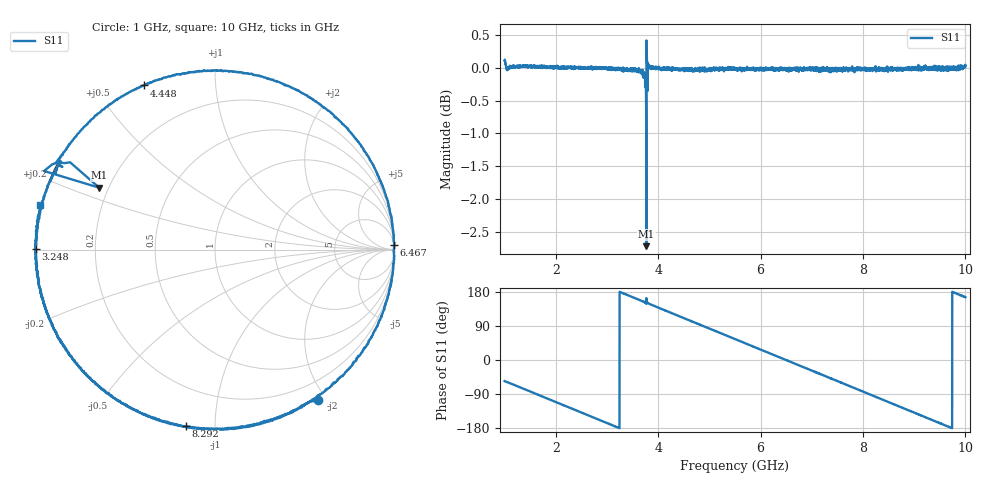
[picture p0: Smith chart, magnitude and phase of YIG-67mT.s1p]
#  HZ  S  RI  R  50.0
! Rohde & Schwarz ZVL13 2Ports - Version 3.31 - 1303.6509k13 SN: 101088
! Date: 2023-03-02 16:57:39
! Data & Calibration Information:
! Trc2:S21(Trans Norm)
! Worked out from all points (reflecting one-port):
!   4000 points, 1 GHz to 10 GHz, reference 50 ohm
!   lowest |S11| = -2.7 dB at 3.768 GHz (marker M1), VSWR 6.43, Z = 8.25 + j12.2 ohm
!   phase of S11 starts at -56 deg and turns -499 deg over the sweep
!   S11 on the Smith chart (normalised r, x): 1 GHz: -0.03, -1.90; 3.248 GHz: 0.00, +0.00; 4.448 GHz: 0.00, +0.66; 6.467 GHz: 8, +73; 8.292 GHz: 0.00, -0.85; 10 GHz: -0.00, +0.13
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1e9  0.5726 -0.8362
1.330833e9  0.2819 -0.9623
1.587397e9  0.0347 -1.002
1.855214e9  -0.2221 -0.9762
2.125281e9  -0.4676 -0.8837
2.723931e9  -0.8748 -0.4825
3.248312e9  -0.9988 0.00435
3.250563e9  -0.9969 0.00724
3.768192e9  -0.6446 0.3447
4.051763e9  -0.7096 0.6996
4.375844e9  -0.4598 0.8857
4.447862e9  -0.3962 0.9144
4.733683e9  -0.1348 0.986
4.983496e9  0.105 0.991
5.501125e9  0.5702 0.8193
6.003001e9  0.8887 0.4583
6.466617e9  0.9968 0.0268
6.626407e9  0.99 -0.1265
7.144036e9  0.8089 -0.5869
7.434359e9  0.6132 -0.7841
7.751688e9  0.3461 -0.9342
8.035259e9  0.0828 -0.9947
8.291823e9  -0.1643 -0.9842
8.582146e9  -0.4334 -0.8998
8.876969e9  -0.6685 -0.7395
9.43961e9  -0.9551 -0.287
9.702926e9  -1.001 -0.0369
1e10  -0.971 0.2493
